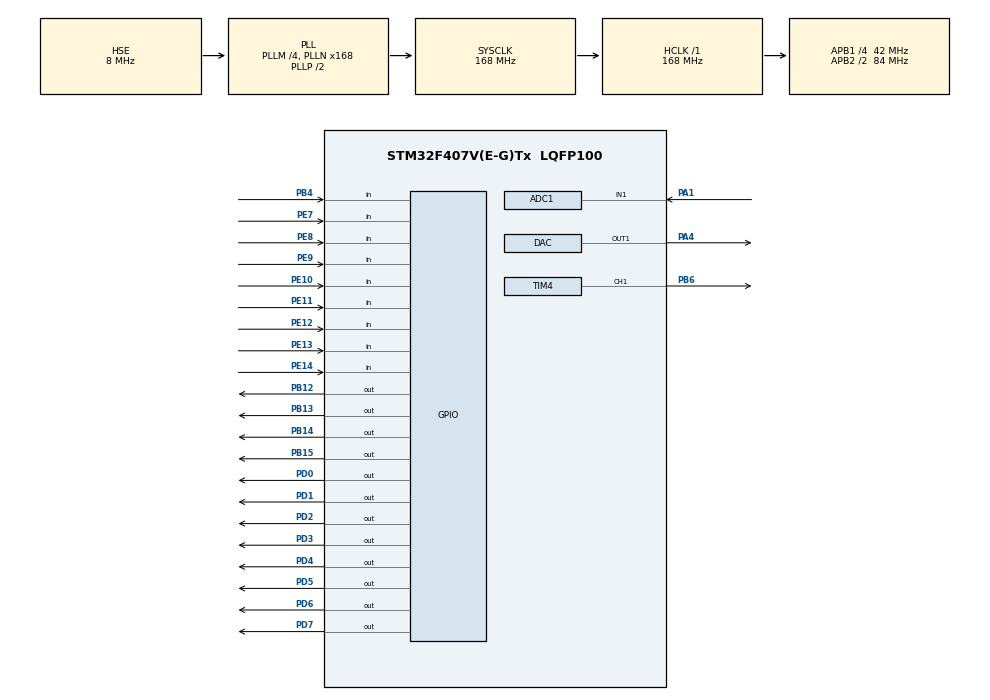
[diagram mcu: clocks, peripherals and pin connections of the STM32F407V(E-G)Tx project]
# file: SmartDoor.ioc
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ADC1.Channel-0\#ChannelRegularConversion=ADC_CHANNEL_1
ADC1.NbrOfConversionFlag=1
ADC1.Rank-0\#ChannelRegularConversion=1
ADC1.SamplingTime-0\#ChannelRegularConversion=ADC_SAMPLETIME_3CYCLES
ADC1.master=1
Mcu.Family=STM32F4
Mcu.Name=STM32F407V(E-G)Tx
Mcu.Package=LQFP100
NVIC.PriorityGroup=NVIC_PRIORITYGROUP_4
NVIC.TIM3_IRQn=true\:1\:0\:true\:false\:true\:true\:true
NVIC.TIM4_IRQn=true\:0\:0\:true\:false\:true\:true\:true
PA1.Signal=ADCx_IN1
PA4.Signal=COMP_DAC1_group
PB12.Signal=GPIO_Output
PB13.Signal=GPIO_Output
PB14.Signal=GPIO_Output
PB15.Signal=GPIO_Output
PB4.Signal=GPIO_Input
PB6.Signal=S_TIM4_CH1
PD0.Signal=GPIO_Output
PD1.Signal=GPIO_Output
PD2.Signal=GPIO_Output
PD3.Signal=GPIO_Output
PD4.Signal=GPIO_Output
PD5.Signal=GPIO_Output
PD6.Signal=GPIO_Output
PD7.Signal=GPIO_Output
PE10.GPIO_PuPd=GPIO_PULLDOWN
PE10.Signal=GPIO_Input
PE11.GPIO_Mode=GPIO_MODE_INPUT
PE11.GPIO_PuPd=GPIO_PULLDOWN
PE11.Signal=GPIO_Input
PE12.GPIO_PuPd=GPIO_PULLDOWN
PE12.Signal=GPIO_Input
PE13.GPIO_PuPd=GPIO_PULLDOWN
PE13.Signal=GPIO_Input
PE14.GPIO_PuPd=GPIO_PULLDOWN
PE14.Signal=GPIO_Input
PE7.GPIO_PuPd=GPIO_PULLDOWN
PE7.Signal=GPIO_Input
PE8.GPIO_PuPd=GPIO_PULLDOWN
PE8.Signal=GPIO_Input
PE9.GPIO_PuPd=GPIO_PULLDOWN
PE9.Signal=GPIO_Input
PH0-OSC_IN.Mode=HSE-External-Oscillator
PH0-OSC_IN.Signal=RCC_OSC_IN
PH1-OSC_OUT.Mode=HSE-External-Oscillator
PH1-OSC_OUT.Signal=RCC_OSC_OUT
ProjectManager.HeapSize=0x200
ProjectManager.StackSize=0x400
ProjectManager.TargetToolchain=SW4STM32
RCC.48MHZClocksFreq_Value=84000000
RCC.AHBFreq_Value=168000000
RCC.APB1CLKDivider=RCC_HCLK_DIV4
RCC.APB1Freq_Value=42000000
RCC.APB1TimFreq_Value=84000000
RCC.APB2CLKDivider=RCC_HCLK_DIV2
RCC.APB2Freq_Value=84000000
RCC.APB2TimFreq_Value=168000000
RCC.CortexFreq_Value=168000000
RCC.HCLKFreq_Value=168000000
RCC.HSE_VALUE=8000000
RCC.HSI_VALUE=16000000
RCC.LSE_VALUE=32768
RCC.PLLM=4
RCC.PLLN=168
RCC.PLLSourceVirtual=RCC_PLLSOURCE_HSE
RCC.SYSCLKFreq_VALUE=168000000
RCC.SYSCLKSource=RCC_SYSCLKSOURCE_PLLCLK
RCC.VCOOutputFreq_Value=336000000
SH.ADCx_IN1.0=ADC1_IN1,IN1
SH.COMP_DAC1_group.0=DAC_OUT1,DAC_OUT1
SH.S_TIM4_CH1.0=TIM4_CH1,PWM Generation1 CH1
TIM3.Period=9
TIM3.Prescaler=524
TIM4.Channel-PWM\ Generation1\ CH1=TIM_CHANNEL_1
TIM4.Period=209
VP_TIM3_VS_ClockSourceINT.Mode=Internal
VP_TIM4_VS_ClockSourceINT.Mode=Internal
board=custom

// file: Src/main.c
/* USER CODE BEGIN Header */
/**
  ******************************************************************************
  * @file           : main.c
  * @brief          : Main program body
  ******************************************************************************
  * @attention
  *
  * <h2><center>&copy; Copyright (c) 2019 STMicroelectronics.
  * All rights reserved.</center></h2>
  *
  * This software component is licensed by ST under BSD 3-Clause license,
  * the "License"; You may not use this file except in compliance with the
  * License. You may obtain a copy of the License at:
  *                        opensource.org/licenses/BSD-3-Clause
  *
  ******************************************************************************
  */
/* USER CODE END Header */

#include "main.h"

/* USER CODE BEGIN Includes */
#include "ws2811.h"
#include "display.h"
/* USER CODE END Includes */

ADC_HandleTypeDef hadc1;

DAC_HandleTypeDef hdac;

TIM_HandleTypeDef htim3;
TIM_HandleTypeDef htim4;

/* USER CODE BEGIN PV */
extern const uint8_t rawAudio[38530];
uint16_t audio;
int a = 0;	//counter for audio interrupt
double audio_1 = 0.0;
int i = 0;	// counter for led interrupt
BRG LEDstruct[50];
uint8_t LEDbinary[1200];
int animationFlag = 0;
int diode = 0;
int value = 0;
extern int key;
extern int keyTab[4];
int keyAccept[4] = {1,3,3,7};
int keyCounter = 0;
int digit;
int flag;
int mode = 0;

void idleMode(){
	if (mode!=1){
		mode=1;
		i=0;
		turnOFF(LEDstruct);
		decimalToBinary(LEDstruct, LEDbinary);
	}

	if (i >= 11222){
		decimalToBinary(LEDstruct, LEDbinary);
		i = 0;
		if (animationFlag==0){
		setDiode(LEDstruct,diode,0,255,255,1);
		diode++;
		}
		else if (animationFlag==1){
			setDiode(LEDstruct,diode,0,0,0,0);
			diode--;
		}
		if (diode == 50){
			animationFlag=1;
			diode = 49;
		}
		else if (diode == 0){
			animationFlag = 0;
		}
	}
}

void activeMode(){
	if(mode!=2){
		mode=2;
		i=0;
		turnOFF(LEDstruct);
		decimalToBinary(LEDstruct, LEDbinary);
	}

	if (i >= 401222){
		if (animationFlag == 0){
			odd(LEDstruct);
		  	animationFlag = 1;
		}
		else if (animationFlag == 1){
			even(LEDstruct);
			animationFlag = 0;
		}
		decimalToBinary(LEDstruct, LEDbinary);
		i=0;
	}
}

void alarmMode(){
	if(mode!=3){
		mode=3;
		i=0;
		turnOFF(LEDstruct);
		decimalToBinary(LEDstruct, LEDbinary);
	}

	if (i >= 201222){
		if (animationFlag == 0){
			allRed(LEDstruct);
		  	decimalToBinary(LEDstruct, LEDbinary);

		  	animationFlag = 1;
		}
		else if (animationFlag == 1){
			turnOFF(LEDstruct);
			decimalToBinary(LEDstruct, LEDbinary);
			animationFlag = 0;
		}
		i=0;
	}
}

/* USER CODE END PV */

void SystemClock_Config(void);
static void MX_GPIO_Init(void);
static void MX_TIM4_Init(void);
static void MX_ADC1_Init(void);
static void MX_DAC_Init(void);
static void MX_TIM3_Init(void);
/* USER CODE BEGIN PFP */
void HAL_TIM_PeriodElapsedCallback ( TIM_HandleTypeDef *htim){
	if (htim-> Instance == TIM4){

		if (i<1200){
			if (LEDbinary[i] == 0){
				TIM4->CCR1 = low;
			}
			if (LEDbinary[i] == 1){
				TIM4->CCR1 = high;
			}
		}
		if (i >= 1200 && i < 1222){
			TIM4->CCR1 = ret;
		}
		i++;

		if(value == 0 && key == 0){
			idleMode();
		}
		else if (value == 0 && key == 1){
			activeMode();
		}
		else if (value == 1 && key == 1){
			alarmMode();
		}
	}

	if (value == 1 && key == 1){
		if (htim-> Instance == TIM3){
			if(a < 38530 ){
				HAL_DAC_SetValue(&hdac,DAC_CHANNEL_1,DAC_ALIGN_12B_R,rawAudio[a]*audio_1);
				a++;
			}
			else{
				a = 0;
			}
		}
	}
}

/* USER CODE END PFP */

int main(void)
{

  /* MCU Configuration--------------------------------------------------------*/

  /* Reset of all peripherals, Initializes the Flash interface and the Systick. */
  HAL_Init();

  /* Configure the system clock */
  SystemClock_Config();

  /* Initialize all configured peripherals */
  MX_GPIO_Init();
  MX_TIM4_Init();
  MX_ADC1_Init();
  MX_DAC_Init();
  MX_TIM3_Init();
  /* USER CODE BEGIN 2 */
  HAL_TIM_Base_Start_IT(&htim4);
  HAL_TIM_PWM_Start(&htim4, TIM_CHANNEL_1);

  HAL_TIM_Base_Start_IT(&htim3);
  HAL_DAC_Start(&hdac,DAC_CHANNEL_1);

  /* USER CODE END 2 */

  /* Infinite loop */
  /* USER CODE BEGIN WHILE */
  while (1)
  {
	  //MOTION SENSOR
	  	  if(HAL_GPIO_ReadPin(GPIOB, GPIO_PIN_4) && key == 1){
	  	  		  value = 1;
	  	  }

	  //KEYBOARD
	  	  if(HAL_GPIO_ReadPin(GPIOE, GPIO_PIN_7)){
	  		  for(int t = 0; t < 2000000; t++){}
	  		  keyTab[keyCounter] = 0;
	  		  digit = 0;
	  		  keyCounter++;
	  		  while(HAL_GPIO_ReadPin(GPIOE, GPIO_PIN_7) == 1);
	  	  }
	  	  if(HAL_GPIO_ReadPin(GPIOE, GPIO_PIN_8)){
	  		  for(int t = 0; t < 2000000; t++){}
	  		  keyTab[keyCounter] = 1;
	  		  keyCounter++;
	  		  digit = 1;
	  		  while(HAL_GPIO_ReadPin(GPIOE, GPIO_PIN_8) == 1);
	  	  }
	  	  if(HAL_GPIO_ReadPin(GPIOE, GPIO_PIN_9)){
	  		  for(int t = 0; t < 2000000; t++){}
	  		  keyTab[keyCounter] = 2;
	  		  keyCounter++;
	  		  digit =2;
	  		  while(HAL_GPIO_ReadPin(GPIOE, GPIO_PIN_9) == 1);
	  	  }
	  	  if(HAL_GPIO_ReadPin(GPIOE, GPIO_PIN_10)){
	  		  for(int t = 0; t < 2000000; t++){}
	  		  keyTab[keyCounter] = 3;
	  		  keyCounter++;
	  		  digit = 3;
	  		  while(HAL_GPIO_ReadPin(GPIOE, GPIO_PIN_10) == 1);
	  	  }
	  	  if(HAL_GPIO_ReadPin(GPIOE, GPIO_PIN_11)){
	  		  for(int t = 0; t < 2000000; t++){}
	  		  keyTab[keyCounter] = 4;
	  		  keyCounter++;
	  		  digit =4;
	  		  while(HAL_GPIO_ReadPin(GPIOE, GPIO_PIN_11) == 1);
	  	  }
	  	  if(HAL_GPIO_ReadPin(GPIOE, GPIO_PIN_12)){
	  		  for(int t = 0; t < 2000000; t++){}
	  		  keyTab[keyCounter] = 5;
	  		  keyCounter++;
	  		  digit = 5;
	  		  while(HAL_GPIO_ReadPin(GPIOE, GPIO_PIN_12) == 1);
	  	  }
	  	  if(HAL_GPIO_ReadPin(GPIOE, GPIO_PIN_13)){
	  		  for(int t = 0; t < 2000000; t++){}
	  		  keyTab[keyCounter] = 6;
	  		  keyCounter++;
	  		  digit = 6;
	  		  while(HAL_GPIO_ReadPin(GPIOE, GPIO_PIN_13) == 1);
	  	  }
	  	  if(HAL_GPIO_ReadPin(GPIOE, GPIO_PIN_14)){
	  		  for(int t = 0; t < 2000000; t++){}
	  		  keyTab[keyCounter] = 7;
	  		  keyCounter++;
	  		  digit = 7;
	  		  while(HAL_GPIO_ReadPin(GPIOE, GPIO_PIN_14) == 1);
	  	  }
	  	  if (keyCounter == 4){
	  		  for(int t = 0; t < 4; t++){
	  			  if(keyTab[t] == keyAccept[t]){
	  				flag = 1;
	  			  }
	  			  else{
	  				flag = 0;
	  				keyCounter = 0;
	  				break;

	  			  }
	  		  }
	  		  if (flag == 1){
	  			  if(key == 0 ){
	  				  key = 1;
	  				  flag = 0;
	  			  }
	  			  else if(key == 1){
	  				  key = 0;
	  				  value = 0;
	  				  flag = 0;
	  			  }
	  			  keyCounter = 0;
	  		  }
	  	  }

	  //AUDIO//
	  	  HAL_ADC_Start(&hadc1);
	  	  if(HAL_ADC_PollForConversion(&hadc1, 10)== HAL_OK){
	  		  audio = HAL_ADC_GetValue(&hadc1);
	  		  audio_1 = (2.95/4096) * audio;
	  	  }

	  //DISPLAY//
	  	  display(keyCounter);

    /* USER CODE END WHILE */

  }
}

void SystemClock_Config(void)
{
  RCC_OscInitTypeDef RCC_OscInitStruct = {0};
  RCC_ClkInitTypeDef RCC_ClkInitStruct = {0};

  /** Configure the main internal regulator output voltage
  */
  __HAL_RCC_PWR_CLK_ENABLE();
  __HAL_PWR_VOLTAGESCALING_CONFIG(PWR_REGULATOR_VOLTAGE_SCALE1);
  /** Initializes the CPU, AHB and APB busses clocks
  */
  RCC_OscInitStruct.OscillatorType = RCC_OSCILLATORTYPE_HSE;
  RCC_OscInitStruct.HSEState = RCC_HSE_ON;
  RCC_OscInitStruct.PLL.PLLState = RCC_PLL_ON;
  RCC_OscInitStruct.PLL.PLLSource = RCC_PLLSOURCE_HSE;
  RCC_OscInitStruct.PLL.PLLM = 4;
  RCC_OscInitStruct.PLL.PLLN = 168;
  RCC_OscInitStruct.PLL.PLLP = RCC_PLLP_DIV2;
  RCC_OscInitStruct.PLL.PLLQ = 4;
  if (HAL_RCC_OscConfig(&RCC_OscInitStruct) != HAL_OK)
  {
    Error_Handler();
  }
  /** Initializes the CPU, AHB and APB busses clocks
  */
  RCC_ClkInitStruct.ClockType = RCC_CLOCKTYPE_HCLK|RCC_CLOCKTYPE_SYSCLK
                              |RCC_CLOCKTYPE_PCLK1|RCC_CLOCKTYPE_PCLK2;
  RCC_ClkInitStruct.SYSCLKSource = RCC_SYSCLKSOURCE_PLLCLK;
  RCC_ClkInitStruct.AHBCLKDivider = RCC_SYSCLK_DIV1;
  RCC_ClkInitStruct.APB1CLKDivider = RCC_HCLK_DIV4;
  RCC_ClkInitStruct.APB2CLKDivider = RCC_HCLK_DIV2;

  if (HAL_RCC_ClockConfig(&RCC_ClkInitStruct, FLASH_LATENCY_5) != HAL_OK)
  {
    Error_Handler();
  }
}

static void MX_ADC1_Init(void)
{

  ADC_ChannelConfTypeDef sConfig = {0};

  /** Configure the global features of the ADC (Clock, Resolution, Data Alignment and number of conversion)
  */
  hadc1.Instance = ADC1;
  hadc1.Init.ClockPrescaler = ADC_CLOCK_SYNC_PCLK_DIV4;
  hadc1.Init.Resolution = ADC_RESOLUTION_12B;
  hadc1.Init.ScanConvMode = DISABLE;
  hadc1.Init.ContinuousConvMode = DISABLE;
  hadc1.Init.DiscontinuousConvMode = DISABLE;
  hadc1.Init.ExternalTrigConvEdge = ADC_EXTERNALTRIGCONVEDGE_NONE;
  hadc1.Init.ExternalTrigConv = ADC_SOFTWARE_START;
  hadc1.Init.DataAlign = ADC_DATAALIGN_RIGHT;
  hadc1.Init.NbrOfConversion = 1;
  hadc1.Init.DMAContinuousRequests = DISABLE;
  hadc1.Init.EOCSelection = ADC_EOC_SINGLE_CONV;
  if (HAL_ADC_Init(&hadc1) != HAL_OK)
  {
    Error_Handler();
  }
  /** Configure for the selected ADC regular channel its corresponding rank in the sequencer and its sample time.
  */
  sConfig.Channel = ADC_CHANNEL_1;
  sConfig.Rank = 1;
  sConfig.SamplingTime = ADC_SAMPLETIME_3CYCLES;
  if (HAL_ADC_ConfigChannel(&hadc1, &sConfig) != HAL_OK)
  {
    Error_Handler();
  }

}

static void MX_DAC_Init(void)
{

  DAC_ChannelConfTypeDef sConfig = {0};

  /** DAC Initialization
  */
  hdac.Instance = DAC;
  if (HAL_DAC_Init(&hdac) != HAL_OK)
  {
    Error_Handler();
  }
  /** DAC channel OUT1 config
  */
  sConfig.DAC_Trigger = DAC_TRIGGER_NONE;
  sConfig.DAC_OutputBuffer = DAC_OUTPUTBUFFER_ENABLE;
  if (HAL_DAC_ConfigChannel(&hdac, &sConfig, DAC_CHANNEL_1) != HAL_OK)
  {
    Error_Handler();
  }

}

static void MX_TIM3_Init(void)
{

  TIM_ClockConfigTypeDef sClockSourceConfig = {0};
  TIM_MasterConfigTypeDef sMasterConfig = {0};

  htim3.Instance = TIM3;
  htim3.Init.Prescaler = 524;
  htim3.Init.CounterMode = TIM_COUNTERMODE_UP;
  htim3.Init.Period = 9;
  htim3.Init.ClockDivision = TIM_CLOCKDIVISION_DIV1;
  htim3.Init.AutoReloadPreload = TIM_AUTORELOAD_PRELOAD_DISABLE;
  if (HAL_TIM_Base_Init(&htim3) != HAL_OK)
  {
    Error_Handler();
  }
  sClockSourceConfig.ClockSource = TIM_CLOCKSOURCE_INTERNAL;
  if (HAL_TIM_ConfigClockSource(&htim3, &sClockSourceConfig) != HAL_OK)
  {
    Error_Handler();
  }
  sMasterConfig.MasterOutputTrigger = TIM_TRGO_RESET;
  sMasterConfig.MasterSlaveMode = TIM_MASTERSLAVEMODE_DISABLE;
  if (HAL_TIMEx_MasterConfigSynchronization(&htim3, &sMasterConfig) != HAL_OK)
  {
    Error_Handler();
  }

}

static void MX_TIM4_Init(void)
{

  TIM_ClockConfigTypeDef sClockSourceConfig = {0};
  TIM_MasterConfigTypeDef sMasterConfig = {0};
  TIM_OC_InitTypeDef sConfigOC = {0};

  htim4.Instance = TIM4;
  htim4.Init.Prescaler = 0;
  htim4.Init.CounterMode = TIM_COUNTERMODE_UP;
  htim4.Init.Period = 209;
  htim4.Init.ClockDivision = TIM_CLOCKDIVISION_DIV1;
  htim4.Init.AutoReloadPreload = TIM_AUTORELOAD_PRELOAD_DISABLE;
  if (HAL_TIM_Base_Init(&htim4) != HAL_OK)
  {
    Error_Handler();
  }
  sClockSourceConfig.ClockSource = TIM_CLOCKSOURCE_INTERNAL;
  if (HAL_TIM_ConfigClockSource(&htim4, &sClockSourceConfig) != HAL_OK)
  {
    Error_Handler();
  }
  if (HAL_TIM_PWM_Init(&htim4) != HAL_OK)
  {
    Error_Handler();
  }
  sMasterConfig.MasterOutputTrigger = TIM_TRGO_RESET;
  sMasterConfig.MasterSlaveMode = TIM_MASTERSLAVEMODE_DISABLE;
  if (HAL_TIMEx_MasterConfigSynchronization(&htim4, &sMasterConfig) != HAL_OK)
  {
    Error_Handler();
  }
  sConfigOC.OCMode = TIM_OCMODE_PWM1;
  sConfigOC.Pulse = 0;
  sConfigOC.OCPolarity = TIM_OCPOLARITY_HIGH;
  sConfigOC.OCFastMode = TIM_OCFAST_DISABLE;
  if (HAL_TIM_PWM_ConfigChannel(&htim4, &sConfigOC, TIM_CHANNEL_1) != HAL_OK)
  {
    Error_Handler();
  }
  HAL_TIM_MspPostInit(&htim4);

}

static void MX_GPIO_Init(void)
{
  GPIO_InitTypeDef GPIO_InitStruct = {0};

  /* GPIO Ports Clock Enable */
  __HAL_RCC_GPIOH_CLK_ENABLE();
  __HAL_RCC_GPIOA_CLK_ENABLE();
  __HAL_RCC_GPIOE_CLK_ENABLE();
  __HAL_RCC_GPIOB_CLK_ENABLE();
  __HAL_RCC_GPIOD_CLK_ENABLE();

  /*Configure GPIO pin Output Level */
  HAL_GPIO_WritePin(GPIOB, GPIO_PIN_12|GPIO_PIN_13|GPIO_PIN_14|GPIO_PIN_15, GPIO_PIN_RESET);

  /*Configure GPIO pin Output Level */
  HAL_GPIO_WritePin(GPIOD, GPIO_PIN_0|GPIO_PIN_1|GPIO_PIN_2|GPIO_PIN_3
                          |GPIO_PIN_4|GPIO_PIN_5|GPIO_PIN_6|GPIO_PIN_7, GPIO_PIN_RESET);

  /*Configure GPIO pins : PE7 PE8 PE9 PE10
                           PE11 PE12 PE13 PE14 */
  GPIO_InitStruct.Pin = GPIO_PIN_7|GPIO_PIN_8|GPIO_PIN_9|GPIO_PIN_10
                          |GPIO_PIN_11|GPIO_PIN_12|GPIO_PIN_13|GPIO_PIN_14;
  GPIO_InitStruct.Mode = GPIO_MODE_INPUT;
  GPIO_InitStruct.Pull = GPIO_PULLDOWN;
  HAL_GPIO_Init(GPIOE, &GPIO_InitStruct);

  /*Configure GPIO pins : PB12 PB13 PB14 PB15 */
  GPIO_InitStruct.Pin = GPIO_PIN_12|GPIO_PIN_13|GPIO_PIN_14|GPIO_PIN_15;
  GPIO_InitStruct.Mode = GPIO_MODE_OUTPUT_PP;
  GPIO_InitStruct.Pull = GPIO_NOPULL;
  GPIO_InitStruct.Speed = GPIO_SPEED_FREQ_LOW;
  HAL_GPIO_Init(GPIOB, &GPIO_InitStruct);

  /*Configure GPIO pins : PD0 PD1 PD2 PD3
                           PD4 PD5 PD6 PD7 */
  GPIO_InitStruct.Pin = GPIO_PIN_0|GPIO_PIN_1|GPIO_PIN_2|GPIO_PIN_3
                          |GPIO_PIN_4|GPIO_PIN_5|GPIO_PIN_6|GPIO_PIN_7;
  GPIO_InitStruct.Mode = GPIO_MODE_OUTPUT_PP;
  GPIO_InitStruct.Pull = GPIO_NOPULL;
  GPIO_InitStruct.Speed = GPIO_SPEED_FREQ_LOW;
  HAL_GPIO_Init(GPIOD, &GPIO_InitStruct);

  /*Configure GPIO pin : PB4 */
  GPIO_InitStruct.Pin = GPIO_PIN_4;
  GPIO_InitStruct.Mode = GPIO_MODE_INPUT;
  GPIO_InitStruct.Pull = GPIO_NOPULL;
  HAL_GPIO_Init(GPIOB, &GPIO_InitStruct);

}

void Error_Handler(void)
{
}

/************************ (C) COPYRIGHT STMicroelectronics *****END OF FILE****/
